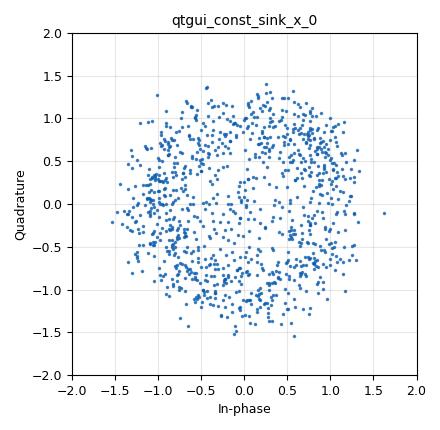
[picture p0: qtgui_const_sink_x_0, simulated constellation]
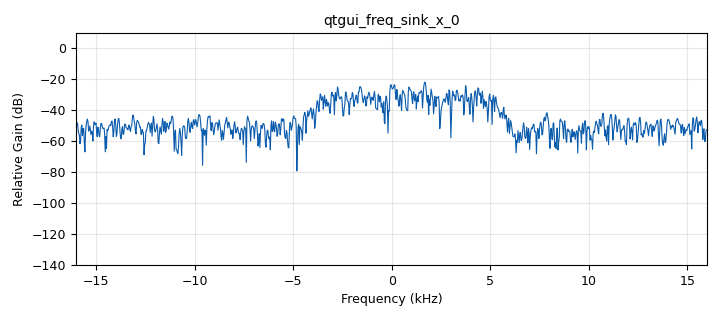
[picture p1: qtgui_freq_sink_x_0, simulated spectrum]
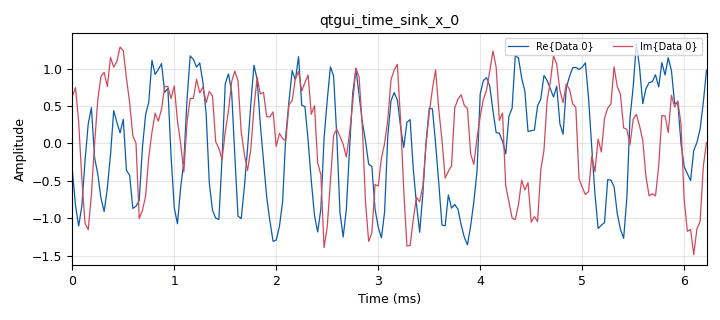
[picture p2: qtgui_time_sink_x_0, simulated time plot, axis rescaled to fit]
options:
  parameters:
    author: mnavi
    generate_options: qt_gui
    id: mpsk_stage2
    output_language: python
    title: Not titled yet
  states: {}

blocks:
- name: arity
  id: variable
  parameters:
    value: '4'
  states: {}
- name: excess_bw
  id: variable
  parameters:
    value: '0.35'
  states: {}
- name: freq_offset
  id: variable_qtgui_range
  parameters:
    start: '-0.1'
    step: '0.001'
    stop: '0.1'
    value: '0.025'
  states: {}
- name: noise_volt
  id: variable_qtgui_range
  parameters:
    start: '0'
    step: '0.01'
    stop: '1'
    value: '0.2'
  states: {}
- name: qpsk
  id: variable_constellation_rect
  parameters:
    const_points: '[-0.707-0.707j, -0.707+0.707j, 0.707+0.707j, 0.707-0.707j]'
    imag_sect: '2'
    real_sect: '2'
    rot_sym: '4'
    sym_map: '[0, 1, 2,3]'
    w_imag_sect: '1'
    w_real_sect: '1'
  states: {}
- name: samp_rate
  id: variable
  parameters:
    value: '32000'
  states: {}
- name: sps
  id: variable
  parameters:
    value: '4'
  states: {}
- name: time_offset
  id: variable_qtgui_range
  parameters:
    start: '0.999'
    step: '0.0001'
    stop: '1.001'
    value: '1.0005'
  states: {}
- name: analog_random_source_x_0
  id: analog_random_source_x
  parameters:
    max: '256'
    min: '0'
    num_samps: '10000'
    repeat: 'True'
    type: byte
  states: {}
- name: blocks_throttle_0
  id: blocks_throttle
  parameters:
    samples_per_second: samp_rate
    type: complex
  states: {}
- name: channels_channel_model_0
  id: channels_channel_model
  parameters:
    epsilon: '1.0005'
    freq_offset: freq_offset
    noise_voltage: noise_volt
    seed: '0'
    taps: '1'
  states: {}
- name: digital_constellation_modulator_0
  id: digital_constellation_modulator
  parameters:
    constellation: qpsk
    differential: 'True'
    excess_bw: excess_bw
    samples_per_symbol: '4'
  states: {}
- name: qtgui_const_sink_x_0
  id: qtgui_const_sink_x
  parameters:
    grid: 'True'
    size: '1024'
    type: complex
  states: {}
- name: qtgui_freq_sink_x_0
  id: qtgui_freq_sink_x
  parameters:
    bw: samp_rate
    fc: '0'
    fftsize: '1024'
    type: complex
  states: {}
- name: qtgui_time_sink_x_0
  id: qtgui_time_sink_x
  parameters:
    size: '200'
    srate: samp_rate
    type: complex
  states: {}

connections:
- [analog_random_source_x_0, '0', digital_constellation_modulator_0, '0']
- [blocks_throttle_0, '0', channels_channel_model_0, '0']
- [channels_channel_model_0, '0', qtgui_const_sink_x_0, '0']
- [channels_channel_model_0, '0', qtgui_freq_sink_x_0, '0']
- [channels_channel_model_0, '0', qtgui_time_sink_x_0, '0']
- [digital_constellation_modulator_0, '0', blocks_throttle_0, '0']

metadata:
  file_format: 1
  grc_version: 3.10.5.0
